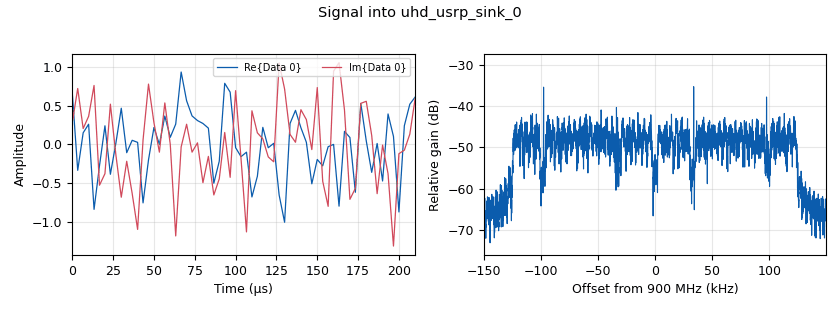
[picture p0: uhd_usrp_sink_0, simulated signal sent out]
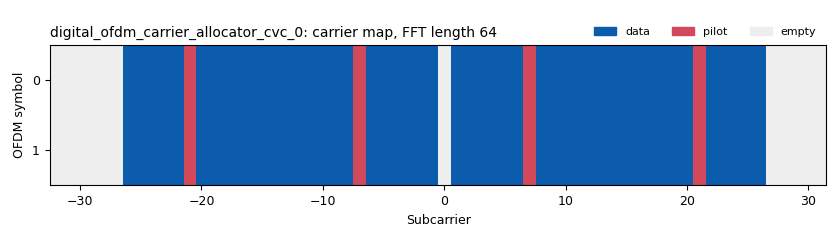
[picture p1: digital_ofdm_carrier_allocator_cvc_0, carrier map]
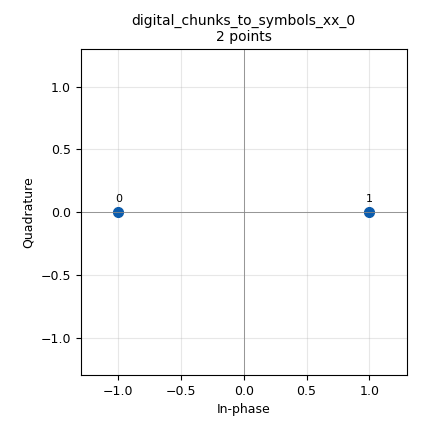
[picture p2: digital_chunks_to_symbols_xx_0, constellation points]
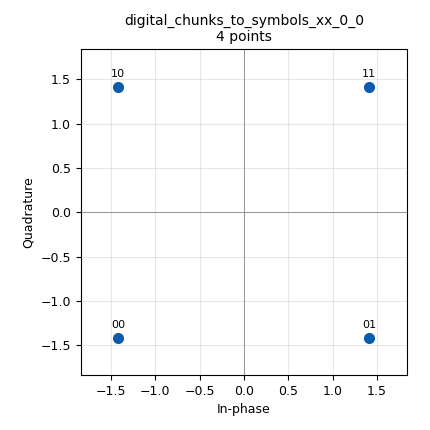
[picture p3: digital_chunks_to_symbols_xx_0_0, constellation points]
options:
  parameters:
    generate_options: qt_gui
    id: ofdm_base
    output_language: python
    title: Not titled yet
  states: {}

blocks:
- name: fft_len
  id: variable
  parameters:
    value: '64'
  states: {}
- name: freq
  id: variable
  parameters:
    value: 900e6
  states: {}
- name: gain
  id: variable_qtgui_range
  parameters:
    label: Amplitude
    orient: Qt.Horizontal
    start: '0'
    step: '.2'
    stop: '90'
    value: '0.2'
  states: {}
- name: hdr_format
  id: variable
  parameters:
    value: digital.header_format_ofdm(occupied_carriers, 1, length_tag_key,)
  states: {}
- name: header_equalizer
  id: variable
  parameters:
    value: digital.ofdm_equalizer_simpledfe(fft_len, header_mod.base(), occupied_carriers, pilot_carriers, pilot_symbols)
  states: {}
- name: header_formatter
  id: variable
  parameters:
    value: digital.packet_header_ofdm(occupied_carriers, n_syms=1, len_tag_key=packet_length_tag_key, frame_len_tag_key=length_tag_key_0, bits_per_header_sym=header_mod.bits_per_symbol(), bits_per_payload_sym=payload_mod.bits_per_symbol(), scramble_header=False)
  states: {}
- name: header_mod
  id: variable
  parameters:
    value: digital.constellation_bpsk()
  states: {}
- name: length_tag_key
  id: variable
  parameters:
    value: '"packet_len"'
  states: {}
- name: length_tag_key_0
  id: variable
  parameters:
    value: '"frame_len"'
  states: {}
- name: occupied_carriers
  id: variable
  parameters:
    value: (list(range(-26, -21)) + list(range(-20, -7)) + list(range(-6, 0)) + list(range(1, 7)) + list(range(8, 21)) + list(range(22, 27)),)
  states: {}
- name: packet_len
  id: variable
  parameters:
    value: '96'
  states: {}
- name: packet_length_tag_key
  id: variable
  parameters:
    value: '"packet_length"'
  states: {}
- name: payload_equalizer
  id: variable
  parameters:
    value: digital.ofdm_equalizer_simpledfe(fft_len, payload_mod.base(), occupied_carriers, pilot_carriers, pilot_symbols, 1)
  states: {}
- name: payload_mod
  id: variable
  parameters:
    value: digital.constellation_qpsk()
  states: {}
- name: pilot_carriers
  id: variable
  parameters:
    value: ((-21, -7, 7, 21,),)
  states: {}
- name: pilot_symbols
  id: variable
  parameters:
    value: ((1, 1, 1, -1,),)
  states: {}
- name: rolloff
  id: variable
  parameters:
    value: '0'
  states: {}
- name: samp_rate
  id: variable
  parameters:
    value: '300000'
  states: {}
- name: sync_word1
  id: variable
  parameters:
    value: '[0., 0., 0., 0., 0., 0., 0., 1.41421356, 0., -1.41421356, 0., 1.41421356, 0., -1.41421356, 0., -1.41421356, 0., -1.41421356, 0., 1.41421356, 0., -1.41421356, 0., 1.41421356, 0., -1.41421356, 0., -1.41421356, 0., -1.41421356, 0., -1.41421356, 0., 1.41421356, 0., -1.41421356, 0., 1.41421356, 0., 1.41421356, 0., 1.41421356, 0., -1.41421356, 0., 1.41421356, 0., 1.41421356, 0., 1.41421356, 0., -1.41421356, 0., 1.41421356, 0., 1.41421356, 0., 1.41421356, 0., 0., 0., 0., 0., 0.]'
  states: {}
- name: sync_word2
  id: variable
  parameters:
    value: '[0, 0, 0, 0, 0, 0, -1, -1, -1, -1, 1, 1, -1, -1, -1, 1, -1, 1, 1, 1, 1, 1, -1, -1, -1, -1, -1, 1, -1, -1, 1, -1, 0, 1, -1, 1, 1, 1, -1, 1, 1, 1, -1, 1, 1, 1, 1, -1, 1, -1, -1, -1, 1, -1, 1, -1, -1, -1, -1, 0, 0, 0, 0, 0] '
  states: {}
- name: analog_frequency_modulator_fc_0
  id: analog_frequency_modulator_fc
  parameters:
    sensitivity: '-2.0/fft_len'
  states: {}
- name: analog_random_source_x_0_0
  id: analog_random_source_x
  parameters:
    max: '255'
    min: '0'
    num_samps: '1000'
    repeat: 'True'
    type: byte
  states: {}
- name: blocks_char_to_float_0
  id: blocks_char_to_float
  parameters:
    scale: '1'
  states: {}
- name: blocks_delay_0
  id: blocks_delay
  parameters:
    delay: fft_len+fft_len//4
    type: complex
  states: {}
- name: blocks_multiply_const_vxx_0
  id: blocks_multiply_const_vxx
  parameters:
    const: '0.05'
    type: complex
  states: {}
- name: blocks_multiply_const_xx_0
  id: blocks_multiply_const_xx
  parameters:
    const: '0.05'
    type: complex
  states: {state: disabled}
- name: blocks_multiply_xx_0
  id: blocks_multiply_xx
  parameters:
    type: complex
  states: {}
- name: blocks_repack_bits_bb_0
  id: blocks_repack_bits_bb
  parameters:
    align_output: 'True'
    endianness: gr.GR_LSB_FIRST
    k: payload_mod.bits_per_symbol()
    l: '8'
    len_tag_key: packet_length_tag_key
  states: {}
- name: blocks_repack_bits_bb_0_0
  id: blocks_repack_bits_bb
  parameters:
    endianness: gr.GR_LSB_FIRST
    k: '8'
    l: payload_mod.bits_per_symbol()
    len_tag_key: length_tag_key
  states: {}
- name: blocks_repack_bits_bb_0_0_0
  id: blocks_repack_bits_bb
  parameters:
    endianness: gr.GR_LSB_FIRST
    k: '8'
    l: '1'
    len_tag_key: length_tag_key
  states: {}
- name: blocks_stream_to_tagged_stream_0_0
  id: blocks_stream_to_tagged_stream
  parameters:
    len_tag_key: length_tag_key
    packet_len: packet_len
    type: byte
  states: {}
- name: blocks_tag_debug_1
  id: blocks_tag_debug
  parameters:
    display: 'False'
    filter: ''
    name: Rx Bytes
    type: byte
  states: {}
- name: blocks_tag_gate_0
  id: blocks_tag_gate
  parameters:
    propagate_tags: 'False'
    type: complex
  states: {}
- name: blocks_tagged_stream_mux_0
  id: blocks_tagged_stream_mux
  parameters:
    lengthtagname: length_tag_key
    ninputs: '2'
    type: complex
  states: {}
- name: blocks_throttle_0
  id: blocks_throttle
  parameters:
    samples_per_second: samp_rate
    type: complex
  states: {state: disabled}
- name: blocks_throttle_0_0
  id: blocks_throttle
  parameters:
    samples_per_second: samp_rate
    type: complex
  states: {state: disabled}
- name: channels_channel_model_0
  id: channels_channel_model
  parameters:
    block_tags: 'True'
    epsilon: '1.0'
    freq_offset: 0 * 1.0/fft_len
    noise_voltage: '0.1'
    seed: '0'
    taps: '1.0'
  states: {state: disabled}
- name: digital_chunks_to_symbols_xx_0
  id: digital_chunks_to_symbols_xx
  parameters:
    dimension: '1'
    in_type: byte
    out_type: complex
    symbol_table: header_mod.points()
  states: {}
- name: digital_chunks_to_symbols_xx_0_0
  id: digital_chunks_to_symbols_xx
  parameters:
    dimension: '1'
    in_type: byte
    out_type: complex
    symbol_table: payload_mod.points()
  states: {}
- name: digital_constellation_decoder_cb_0
  id: digital_constellation_decoder_cb
  parameters:
    constellation: header_mod.base()
  states: {}
- name: digital_constellation_decoder_cb_1
  id: digital_constellation_decoder_cb
  parameters:
    constellation: payload_mod.base()
  states: {}
- name: digital_crc32_bb_0
  id: digital_crc32_bb
  parameters:
    check: 'True'
    lengthtagname: packet_length_tag_key
    packed: 'True'
  states: {}
- name: digital_crc32_bb_0_0
  id: digital_crc32_bb
  parameters:
    check: 'False'
    lengthtagname: length_tag_key
    packed: 'True'
  states: {}
- name: digital_header_payload_demux_0
  id: digital_header_payload_demux
  parameters:
    guard_interval: fft_len//4
    header_len: '3'
    header_padding: '0'
    items_per_symbol: fft_len
    length_tag_key: length_tag_key_0
    output_symbols: 'True'
    samp_rate: samp_rate
    special_tags: ()
    timing_tag_key: '"rx_time"'
    type: complex
  states: {}
- name: digital_ofdm_carrier_allocator_cvc_0
  id: digital_ofdm_carrier_allocator_cvc
  parameters:
    fft_len: fft_len
    len_tag_key: length_tag_key
    occupied_carriers: occupied_carriers
    output_is_shifted: 'True'
    pilot_carriers: pilot_carriers
    pilot_symbols: pilot_symbols
    sync_words: (sync_word1, sync_word2)
  states: {}
- name: digital_ofdm_chanest_vcvc_0
  id: digital_ofdm_chanest_vcvc
  parameters:
    force_one_symbol: 'False'
    max_carr_offset: '3'
    n_data_symbols: '1'
    sync_symbol1: sync_word1
    sync_symbol2: sync_word2
  states: {}
- name: digital_ofdm_cyclic_prefixer_0
  id: digital_ofdm_cyclic_prefixer
  parameters:
    cp_len: fft_len//4
    input_size: fft_len
    rolloff: rolloff
    tagname: length_tag_key
  states: {}
- name: digital_ofdm_frame_equalizer_vcvc_0
  id: digital_ofdm_frame_equalizer_vcvc
  parameters:
    cp_len: fft_len//4
    equalizer: header_equalizer.base()
    fft_len: fft_len
    fixed_frame_len: '1'
    len_tag_key: length_tag_key_0
    propagate_channel_state: 'True'
  states: {}
- name: digital_ofdm_frame_equalizer_vcvc_1
  id: digital_ofdm_frame_equalizer_vcvc
  parameters:
    cp_len: fft_len//4
    equalizer: payload_equalizer.base()
    fft_len: fft_len
    len_tag_key: length_tag_key_0
    propagate_channel_state: 'True'
  states: {}
- name: digital_ofdm_serializer_vcc_header
  id: digital_ofdm_serializer_vcc
  parameters:
    carr_offset_key: ''
    fft_len: fft_len
    len_tag_key: length_tag_key_0
    occupied_carriers: occupied_carriers
    packet_len_tag_key: ''
  states: {}
- name: digital_ofdm_serializer_vcc_payload
  id: digital_ofdm_serializer_vcc
  parameters:
    carr_offset_key: ''
    fft_len: fft_len
    len_tag_key: length_tag_key_0
    occupied_carriers: occupied_carriers
    packet_len_tag_key: packet_length_tag_key
    symbols_skipped: '1'
  states: {}
- name: digital_ofdm_sync_sc_cfb_0
  id: digital_ofdm_sync_sc_cfb
  parameters:
    cp_len: fft_len//4
    fft_len: fft_len
    threshold: '0.9'
  states: {}
- name: digital_packet_headerparser_b_0
  id: digital_packet_headerparser_b
  parameters:
    header_formatter: header_formatter.base()
  states: {}
- name: digital_protocol_formatter_bb_0
  id: digital_protocol_formatter_bb
  parameters:
    format: hdr_format
    len_tag_key: length_tag_key
  states: {}
- name: fft_vxx_0
  id: fft_vxx
  parameters:
    fft_size: fft_len
    forward: 'True'
    shift: 'True'
    type: complex
    window: ()
  states: {}
- name: fft_vxx_0_0
  id: fft_vxx
  parameters:
    fft_size: fft_len
    forward: 'False'
    shift: 'True'
    type: complex
    window: ()
  states: {}
- name: fft_vxx_1
  id: fft_vxx
  parameters:
    fft_size: fft_len
    forward: 'True'
    shift: 'True'
    type: complex
    window: ()
  states: {}
- name: header_bits
  id: virtual_sink
  parameters:
    stream_id: Header Bits
  states: {}
- name: import_1
  id: import
  parameters:
    imports: from gnuradio.digital.utils import tagged_streams
  states: {}
- name: qtgui_const_sink_x_0
  id: qtgui_const_sink_x
  parameters:
    size: '1024'
    type: complex
  states: {}
- name: qtgui_freq_sink_x_0
  id: qtgui_freq_sink_x
  parameters:
    autoscale: 'True'
    bw: samp_rate
    fc: '0'
    fftsize: '1024'
    name: FFT Plot
    showports: 'True'
    type: complex
    wintype: firdes.WIN_BLACKMAN_hARRIS
  states: {}
- name: qtgui_sink_x_0
  id: qtgui_sink_x
  parameters:
    bw: samp_rate
    fc: '0'
    fftsize: '1024'
    type: complex
    wintype: firdes.WIN_BLACKMAN_hARRIS
  states: {state: disabled}
- name: qtgui_time_sink_x_0
  id: qtgui_time_sink_x
  parameters:
    size: '1024'
    srate: samp_rate
    type: float
  states: {}
- name: qtgui_time_sink_x_0_0
  id: qtgui_time_sink_x
  parameters:
    autoscale: 'True'
    label1: Scope Plot
    label2: ''
    name: Scope Plot
    size: '1024'
    srate: samp_rate
    type: complex
  states: {state: disabled}
- name: qtgui_time_sink_x_1
  id: qtgui_time_sink_x
  parameters:
    size: '1024'
    srate: samp_rate
    type: complex
  states: {}
- name: uhd_usrp_sink_0
  id: uhd_usrp_sink
  parameters:
    ant0: TX/RX
    center_freq0: freq
    dev_args: '""'
    gain0: gain
    len_tag_name: ''
    norm_gain0: 'False'
    samp_rate: samp_rate
    sync: pc_clock
    type: fc32
  states: {}
- name: uhd_usrp_source_0
  id: uhd_usrp_source
  parameters:
    ant0: RX2
    center_freq0: freq
    dc_offs_enb0: '""'
    dev_args: '""'
    gain0: '0'
    iq_imbal_enb0: '""'
    norm_gain0: 'False'
    rx_agc0: Disabled
    samp_rate: samp_rate
    sync: pc_clock
    type: fc32
  states: {}
- name: virtual_sink_0
  id: virtual_sink
  parameters:
    stream_id: Header Stream
  states: {}
- name: virtual_sink_0_0
  id: virtual_sink
  parameters:
    stream_id: Time Domain
  states: {}
- name: virtual_sink_0_0_0
  id: virtual_sink
  parameters:
    stream_id: Payload Bits
  states: {}
- name: virtual_sink_0_0_0_0
  id: virtual_sink
  parameters:
    stream_id: Pre-OFDM
  states: {}
- name: virtual_sink_1
  id: virtual_sink
  parameters:
    stream_id: Payload Stream
  states: {}
- name: virtual_sink_1_0
  id: virtual_sink
  parameters:
    stream_id: Payload IQ
  states: {}
- name: virtual_source_0
  id: virtual_source
  parameters:
    stream_id: Header Stream
  states: {}
- name: virtual_source_0_0
  id: virtual_source
  parameters:
    stream_id: Payload IQ
  states: {}
- name: virtual_source_0_0_0
  id: virtual_source
  parameters:
    stream_id: Payload Bits
  states: {}
- name: virtual_source_0_0_0_0
  id: virtual_source
  parameters:
    stream_id: Time Domain
  states: {}
- name: virtual_source_0_0_0_1
  id: virtual_source
  parameters:
    stream_id: Pre-OFDM
  states: {}
- name: virtual_source_0_1
  id: virtual_source
  parameters:
    stream_id: Header Bits
  states: {}
- name: virtual_source_1
  id: virtual_source
  parameters:
    stream_id: Payload Stream
  states: {}

connections:
- [analog_frequency_modulator_fc_0, '0', blocks_multiply_xx_0, '0']
- [analog_random_source_x_0_0, '0', blocks_stream_to_tagged_stream_0_0, '0']
- [blocks_char_to_float_0, '0', qtgui_time_sink_x_0, '0']
- [blocks_delay_0, '0', blocks_multiply_xx_0, '1']
- [blocks_multiply_const_vxx_0, '0', blocks_tag_gate_0, '0']
- [blocks_multiply_const_xx_0, '0', blocks_delay_0, '0']
- [blocks_multiply_const_xx_0, '0', digital_ofdm_sync_sc_cfb_0, '0']
- [blocks_multiply_xx_0, '0', digital_header_payload_demux_0, '0']
- [blocks_repack_bits_bb_0, '0', digital_crc32_bb_0, '0']
- [blocks_repack_bits_bb_0_0, '0', virtual_sink_0_0_0, '0']
- [blocks_repack_bits_bb_0_0_0, '0', header_bits, '0']
- [blocks_stream_to_tagged_stream_0_0, '0', digital_crc32_bb_0_0, '0']
- [blocks_tag_gate_0, '0', blocks_throttle_0_0, '0']
- [blocks_tag_gate_0, '0', qtgui_time_sink_x_0_0, '0']
- [blocks_tag_gate_0, '0', uhd_usrp_sink_0, '0']
- [blocks_tagged_stream_mux_0, '0', virtual_sink_0_0_0_0, '0']
- [blocks_throttle_0, '0', blocks_delay_0, '0']
- [blocks_throttle_0, '0', digital_ofdm_sync_sc_cfb_0, '0']
- [blocks_throttle_0_0, '0', blocks_multiply_const_xx_0, '0']
- [blocks_throttle_0_0, '0', qtgui_freq_sink_x_0, '0']
- [blocks_throttle_0_0, '0', qtgui_time_sink_x_0_0, '0']
- [blocks_throttle_0_0, '0', uhd_usrp_sink_0, '0']
- [channels_channel_model_0, '0', blocks_throttle_0, '0']
- [digital_chunks_to_symbols_xx_0, '0', blocks_tagged_stream_mux_0, '0']
- [digital_chunks_to_symbols_xx_0_0, '0', blocks_tagged_stream_mux_0, '1']
- [digital_constellation_decoder_cb_0, '0', digital_packet_headerparser_b_0, '0']
- [digital_constellation_decoder_cb_1, '0', blocks_repack_bits_bb_0, '0']
- [digital_crc32_bb_0, '0', blocks_tag_debug_1, '0']
- [digital_crc32_bb_0_0, '0', blocks_repack_bits_bb_0_0, '0']
- [digital_crc32_bb_0_0, '0', digital_protocol_formatter_bb_0, '0']
- [digital_header_payload_demux_0, '0', virtual_sink_0, '0']
- [digital_header_payload_demux_0, '1', virtual_sink_1, '0']
- [digital_ofdm_carrier_allocator_cvc_0, '0', fft_vxx_0_0, '0']
- [digital_ofdm_chanest_vcvc_0, '0', digital_ofdm_frame_equalizer_vcvc_0, '0']
- [digital_ofdm_cyclic_prefixer_0, '0', virtual_sink_0_0, '0']
- [digital_ofdm_frame_equalizer_vcvc_0, '0', digital_ofdm_serializer_vcc_header, '0']
- [digital_ofdm_frame_equalizer_vcvc_1, '0', digital_ofdm_serializer_vcc_payload, '0']
- [digital_ofdm_serializer_vcc_header, '0', digital_constellation_decoder_cb_0, '0']
- [digital_ofdm_serializer_vcc_payload, '0', virtual_sink_1_0, '0']
- [digital_ofdm_sync_sc_cfb_0, '0', analog_frequency_modulator_fc_0, '0']
- [digital_ofdm_sync_sc_cfb_0, '1', blocks_char_to_float_0, '0']
- [digital_ofdm_sync_sc_cfb_0, '1', digital_header_payload_demux_0, '1']
- [digital_packet_headerparser_b_0, header_data, digital_header_payload_demux_0, header_data]
- [digital_protocol_formatter_bb_0, '0', blocks_repack_bits_bb_0_0_0, '0']
- [fft_vxx_0, '0', digital_ofdm_chanest_vcvc_0, '0']
- [fft_vxx_0_0, '0', digital_ofdm_cyclic_prefixer_0, '0']
- [fft_vxx_1, '0', digital_ofdm_frame_equalizer_vcvc_1, '0']
- [uhd_usrp_source_0, '0', blocks_delay_0, '0']
- [uhd_usrp_source_0, '0', digital_ofdm_sync_sc_cfb_0, '0']
- [uhd_usrp_source_0, '0', qtgui_freq_sink_x_0, '0']
- [virtual_source_0, '0', fft_vxx_0, '0']
- [virtual_source_0_0, '0', digital_constellation_decoder_cb_1, '0']
- [virtual_source_0_0, '0', qtgui_const_sink_x_0, '0']
- [virtual_source_0_0, '0', qtgui_sink_x_0, '0']
- [virtual_source_0_0, '0', qtgui_time_sink_x_1, '0']
- [virtual_source_0_0_0, '0', digital_chunks_to_symbols_xx_0_0, '0']
- [virtual_source_0_0_0_0, '0', blocks_multiply_const_vxx_0, '0']
- [virtual_source_0_0_0_1, '0', digital_ofdm_carrier_allocator_cvc_0, '0']
- [virtual_source_0_1, '0', digital_chunks_to_symbols_xx_0, '0']
- [virtual_source_1, '0', fft_vxx_1, '0']

metadata:
  file_format: 1
